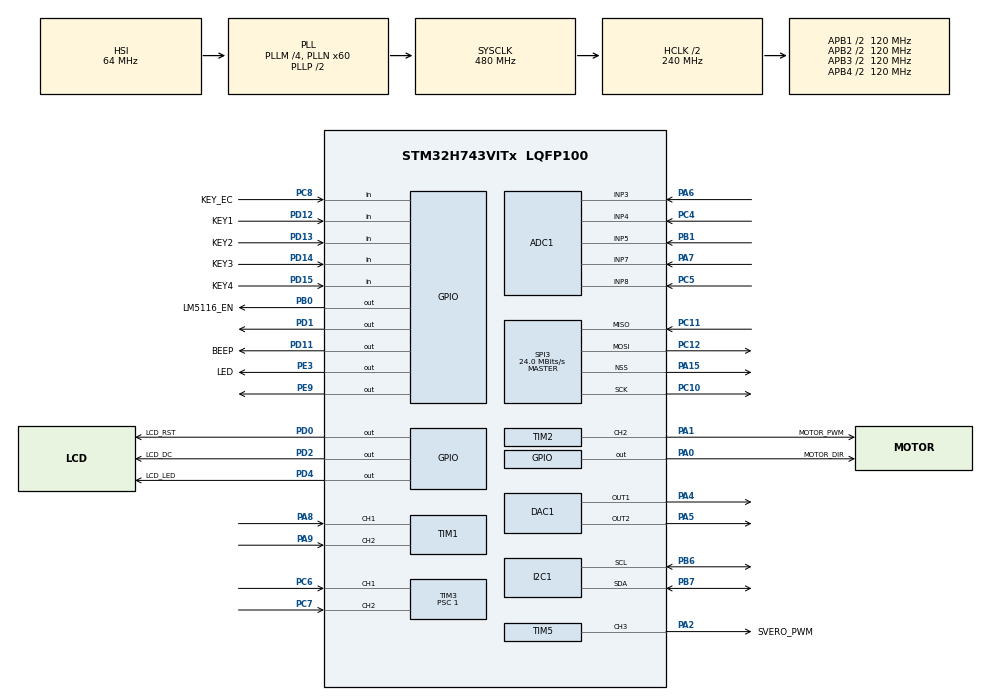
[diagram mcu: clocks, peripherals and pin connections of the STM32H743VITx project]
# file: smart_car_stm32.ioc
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ADC1.Channel-0\#ChannelRegularConversion=ADC_CHANNEL_3
ADC1.Channel-1\#ChannelRegularConversion=ADC_CHANNEL_7
ADC1.Channel-2\#ChannelRegularConversion=ADC_CHANNEL_4
ADC1.Channel-3\#ChannelRegularConversion=ADC_CHANNEL_8
ADC1.Channel-4\#ChannelRegularConversion=ADC_CHANNEL_5
ADC1.ClockPrescaler=ADC_CLOCK_ASYNC_DIV2
ADC1.ContinuousConvMode=ENABLE
ADC1.ConversionDataManagement=ADC_CONVERSIONDATA_DMA_CIRCULAR
ADC1.EOCSelection=ADC_EOC_SEQ_CONV
ADC1.LowPowerAutoWait=ENABLE
ADC1.NbrOfConversion=5
ADC1.NbrOfConversionFlag=1
ADC1.OffsetNumber-0\#ChannelRegularConversion=ADC_OFFSET_NONE
ADC1.OffsetNumber-1\#ChannelRegularConversion=ADC_OFFSET_NONE
ADC1.OffsetNumber-2\#ChannelRegularConversion=ADC_OFFSET_NONE
ADC1.OffsetNumber-3\#ChannelRegularConversion=ADC_OFFSET_NONE
ADC1.OffsetNumber-4\#ChannelRegularConversion=ADC_OFFSET_NONE
ADC1.OffsetSignedSaturation-0\#ChannelRegularConversion=DISABLE
ADC1.OffsetSignedSaturation-1\#ChannelRegularConversion=DISABLE
ADC1.OffsetSignedSaturation-2\#ChannelRegularConversion=DISABLE
ADC1.OffsetSignedSaturation-3\#ChannelRegularConversion=DISABLE
ADC1.OffsetSignedSaturation-4\#ChannelRegularConversion=DISABLE
ADC1.Rank-0\#ChannelRegularConversion=1
ADC1.Rank-1\#ChannelRegularConversion=2
ADC1.Rank-2\#ChannelRegularConversion=3
ADC1.Rank-3\#ChannelRegularConversion=4
ADC1.Rank-4\#ChannelRegularConversion=5
ADC1.SamplingTime-0\#ChannelRegularConversion=ADC_SAMPLETIME_387CYCLES_5
ADC1.SamplingTime-1\#ChannelRegularConversion=ADC_SAMPLETIME_387CYCLES_5
ADC1.SamplingTime-2\#ChannelRegularConversion=ADC_SAMPLETIME_387CYCLES_5
ADC1.SamplingTime-3\#ChannelRegularConversion=ADC_SAMPLETIME_387CYCLES_5
ADC1.SamplingTime-4\#ChannelRegularConversion=ADC_SAMPLETIME_387CYCLES_5
ADC1.master=1
CORTEX_M7.default_mode_Activation=1
DAC1.DAC_Channel-DAC_OUT1=DAC_CHANNEL_1
DAC1.DAC_Channel-DAC_OUT2=DAC_CHANNEL_2
Dma.ADC1.0.Direction=DMA_PERIPH_TO_MEMORY
Dma.ADC1.0.EventEnable=DISABLE
Dma.ADC1.0.FIFOMode=DMA_FIFOMODE_DISABLE
Dma.ADC1.0.Instance=DMA1_Stream0
Dma.ADC1.0.MemDataAlignment=DMA_MDATAALIGN_HALFWORD
Dma.ADC1.0.MemInc=DMA_MINC_ENABLE
Dma.ADC1.0.Mode=DMA_CIRCULAR
Dma.ADC1.0.PeriphDataAlignment=DMA_PDATAALIGN_HALFWORD
Dma.ADC1.0.PeriphInc=DMA_PINC_DISABLE
Dma.ADC1.0.Polarity=HAL_DMAMUX_REQ_GEN_RISING
Dma.ADC1.0.Priority=DMA_PRIORITY_LOW
Dma.ADC1.0.RequestNumber=1
Dma.ADC1.0.SignalID=NONE
Dma.ADC1.0.SyncEnable=DISABLE
Dma.ADC1.0.SyncPolarity=HAL_DMAMUX_SYNC_NO_EVENT
Dma.ADC1.0.SyncRequestNumber=1
Dma.ADC1.0.SyncSignalID=NONE
Dma.Request0=ADC1
I2C1.Timing=0x307075B1
Mcu.Family=STM32H7
Mcu.Name=STM32H743VITx
Mcu.Package=LQFP100
NVIC.DMA1_Stream0_IRQn=true\:0\:0\:false\:false\:true\:false\:true\:true
NVIC.PriorityGroup=NVIC_PRIORITYGROUP_4
NVIC.TIM8_TRG_COM_TIM14_IRQn=true\:0\:0\:false\:false\:true\:true\:true\:true
NVIC.TIM8_UP_TIM13_IRQn=true\:0\:0\:false\:false\:true\:true\:true\:true
PA0.GPIO_Label=MOTOR_DIR
PA0.GPIO_PuPd=GPIO_PULLDOWN
PA0.Signal=GPIO_Output
PA1.GPIO_Label=MOTOR_PWM
PA1.Signal=S_TIM2_CH2
PA13\ (JTMS/SWDIO).Mode=Serial_Wire
PA13\ (JTMS/SWDIO).Signal=DEBUG_JTMS-SWDIO
PA14\ (JTCK/SWCLK).Mode=Serial_Wire
PA14\ (JTCK/SWCLK).Signal=DEBUG_JTCK-SWCLK
PA15\ (JTDI).Mode=NSS_Signal_Hard_Output
PA15\ (JTDI).Signal=SPI3_NSS
PA2.GPIO_Label=SVERO_PWM
PA2.Signal=S_TIM5_CH3
PA4.Signal=COMP_DAC11_group
PA5.Signal=COMP_DAC12_group
PA6.Signal=ADCx_INP3
PA7.Signal=ADCx_INP7
PA8.Signal=S_TIM1_CH1
PA9.Signal=S_TIM1_CH2
PB0.GPIO_Label=LM5116_EN
PB0.Signal=GPIO_Output
PB1.Signal=ADCx_INP5
PB6.Mode=I2C
PB6.Signal=I2C1_SCL
PB7.Mode=I2C
PB7.Signal=I2C1_SDA
PC10.Mode=Full_Duplex_Master
PC10.Signal=SPI3_SCK
PC11.Mode=Full_Duplex_Master
PC11.Signal=SPI3_MISO
PC12.Mode=Full_Duplex_Master
PC12.Signal=SPI3_MOSI
PC14-OSC32_IN\ (OSC32_IN).Mode=LSE-External-Oscillator
PC14-OSC32_IN\ (OSC32_IN).Signal=RCC_OSC32_IN
PC15-OSC32_OUT\ (OSC32_OUT).Mode=LSE-External-Oscillator
PC15-OSC32_OUT\ (OSC32_OUT).Signal=RCC_OSC32_OUT
PC4.Signal=ADCx_INP4
PC5.Signal=ADCx_INP8
PC6.Signal=S_TIM3_CH1
PC7.Signal=S_TIM3_CH2
PC8.GPIO_Label=KEY_EC
PC8.GPIO_PuPd=GPIO_PULLUP
PC8.Signal=GPIO_Input
PD0.GPIO_Label=LCD_RST
PD0.Signal=GPIO_Output
PD1.Signal=GPIO_Output
PD11.GPIO_Label=BEEP
PD11.Signal=GPIO_Output
PD12.GPIO_Label=KEY1
PD12.GPIO_PuPd=GPIO_PULLUP
PD12.Signal=GPIO_Input
PD13.GPIO_Label=KEY2
PD13.GPIO_PuPd=GPIO_PULLUP
PD13.Signal=GPIO_Input
PD14.GPIO_Label=KEY3
PD14.GPIO_PuPd=GPIO_PULLUP
PD14.Signal=GPIO_Input
PD15.GPIO_Label=KEY4
PD15.GPIO_PuPd=GPIO_PULLUP
PD15.Signal=GPIO_Input
PD2.GPIO_Label=LCD_DC
PD2.Signal=GPIO_Output
PD4.GPIO_Label=LCD_LED
PD4.Signal=GPIO_Output
PE3.GPIO_Label=LED
PE3.Signal=GPIO_Output
PE9.GPIO_PuPd=GPIO_PULLDOWN
PE9.Signal=GPIO_Output
PH0-OSC_IN\ (PH0).Mode=HSE-External-Oscillator
PH0-OSC_IN\ (PH0).Signal=RCC_OSC_IN
PH1-OSC_OUT\ (PH1).Mode=HSE-External-Oscillator
PH1-OSC_OUT\ (PH1).Signal=RCC_OSC_OUT
ProjectManager.HeapSize=0x200
ProjectManager.StackSize=0x400
ProjectManager.TargetToolchain=MDK-ARM V5.32
RCC.ADCFreq_Value=36000000
RCC.APB1Freq_Value=120000000
RCC.APB2Freq_Value=120000000
RCC.APB3Freq_Value=120000000
RCC.APB4Freq_Value=120000000
RCC.CortexFreq_Value=480000000
RCC.D1PPRE=RCC_APB3_DIV2
RCC.D2PPRE1=RCC_APB1_DIV2
RCC.D2PPRE2=RCC_APB2_DIV2
RCC.D3PPRE=RCC_APB4_DIV2
RCC.DIVM1=4
RCC.DIVM2=8
RCC.DIVN1=60
RCC.DIVN2=36
RCC.DIVP2=8
RCC.DIVQ1=5
RCC.HCLKFreq_Value=240000000
RCC.HPRE=RCC_HCLK_DIV2
RCC.PLL2FRACN=0
RCC.PLL3FRACN=0
RCC.PLLFRACN=0
RCC.SYSCLKFreq_VALUE=480000000
RCC.SYSCLKSource=RCC_SYSCLKSOURCE_PLLCLK
RCC.USBFreq_Value=192000000
SH.ADCx_INP3.0=ADC1_INP3,IN3-Single-Ended
SH.ADCx_INP4.0=ADC1_INP4,IN4-Single-Ended
SH.ADCx_INP5.0=ADC1_INP5,IN5-Single-Ended
SH.ADCx_INP7.0=ADC1_INP7,IN7-Single-Ended
SH.ADCx_INP8.0=ADC1_INP8,IN8-Single-Ended
SH.COMP_DAC11_group.0=DAC1_OUT1,DAC_OUT1
SH.COMP_DAC12_group.0=DAC1_OUT2,DAC_OUT2
SH.S_TIM1_CH1.0=TIM1_CH1,Encoder_Interface
SH.S_TIM1_CH2.0=TIM1_CH2,Encoder_Interface
SH.S_TIM2_CH2.0=TIM2_CH2,PWM Generation2 CH2
SH.S_TIM3_CH1.0=TIM3_CH1,Encoder_Interface
SH.S_TIM3_CH2.0=TIM3_CH2,Encoder_Interface
SH.S_TIM5_CH3.0=TIM5_CH3,PWM Generation3 CH3
SPI3.BaudRatePrescaler=SPI_BAUDRATEPRESCALER_8
SPI3.CalculateBaudRate=24.0 MBits/s
SPI3.DataSize=SPI_DATASIZE_8BIT
SPI3.Direction=SPI_DIRECTION_2LINES
SPI3.Mode=SPI_MODE_MASTER
SPI3.VirtualNSS=VM_NSSHARD
SPI3.VirtualType=VM_MASTER
TIM1.EncoderMode=TIM_ENCODERMODE_TI12
TIM13.Prescaler=240-1
TIM14.Period=1000
TIM14.Prescaler=240-1
TIM2.AutoReloadPreload=TIM_AUTORELOAD_PRELOAD_ENABLE
TIM2.Channel-PWM\ Generation2\ CH2=TIM_CHANNEL_2
TIM2.Period=20000
TIM2.Prescaler=240-1
TIM3.AutoReloadPreload=TIM_AUTORELOAD_PRELOAD_ENABLE
TIM3.IC2Filter=1
TIM3.IC2Polarity=TIM_ICPOLARITY_FALLING
TIM3.Period=6000
TIM3.Prescaler=1
TIM5.Channel-PWM\ Generation3\ CH3=TIM_CHANNEL_3
TIM5.Period=20000
TIM5.Prescaler=240-1
VP_MEMORYMAP_VS_MEMORYMAP.Mode=CurAppReg
VP_TIM13_VS_ClockSourceINT.Mode=Enable_Timer
VP_TIM14_VS_ClockSourceINT.Mode=Enable_Timer
board=custom

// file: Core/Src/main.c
/* USER CODE BEGIN Header */
/**
  ******************************************************************************
  * @file           : main.c
  * @brief          : Main program body
  ******************************************************************************
  * @attention
  *
  * Copyright (c) 2025 STMicroelectronics.
  * All rights reserved.
  *
  * This software is licensed under terms that can be found in the LICENSE file
  * in the root directory of this software component.
  * If no LICENSE file comes with this software, it is provided AS-IS.
  *
  ******************************************************************************
  */
/* USER CODE END Header */
#include "main.h"
#include "comm_uart7.h"
#include "vehicle_app.h"
#include "motor_pwm.h"
#include "servo_control.h"
#include "vehicle_display.h"
#include "dac_safe.h"
#include "power_control.h"
#include "power_log.h"
#include "usb_log.h"
/* Keep disabled until separately validated with the user. */
#define CAR_ACTUATORS_ENABLED 0
#if CAR_ACTUATORS_ENABLED
#error Legacy UI actuator test must remain disabled; use reviewed vehicle ports only
#endif
#define POWER_OUTPUT_ENABLED 1
#include "adc.h"
#include "dac.h"
#include "dma.h"
#include "i2c.h"
#include "memorymap.h"
#include "spi.h"
#include "tim.h"
#include "gpio.h"

/* USER CODE BEGIN Includes */
#include "lcd_o.h"
#include "stdio.h"
#include "string.h"
#include "tone.h"
#include "AT24C02.h"
#include "ntc.h"

volatile uint8_t key;

float OUT_ADC;
volatile uint16_t ADC_value[5];
volatile uint8_t key;
float U_set =30.00;
float I_set =1.00;
float last_U_set =30.00;
float last_I_set =1.00;
uint8_t mode_set;
//电压设置参数
uint32_t U_set_int = 15;
float U_set_float = 0.00;
uint16_t U_set_count;
uint8_t U_set_mode;
float U_OUT;
uint8_t U_OUT_int;
uint8_t U_OUT_float;
float U_IN;
//电流设置参数
uint32_t I_set_int = 1;
float I_set_float = 0.50;
uint16_t I_set_count;
uint8_t I_set_mode;
float I_OUT;
uint8_t I_OUT_int;
uint8_t I_OUT_float;
//DAC 设置
float DAC_set=1.50f;
float DAC_set_I=0.00f;
//LM5116使能
uint8_t LM5116_EN;
//恒压恒流判断
float I_CCS;
uint8_t mode_CC;
//风扇散热
uint8_t mode_fan;
//过流保护
float I_OCP;
//设置最大电流
uint16_t I_MAX=10;

//调试
extern uint16_t time_1s;
extern uint16_t down_count[5];
extern uint8_t release[5];
//NTC
//通过ADC值计算NTC电阻值
//adc_value 输入ADC结果，范围 0 - 4095
//return 返回NTC电阻值，浮点数类型，单位Ω�
float NTC_R;
float tempture;
uint8_t tempture_u8;

//PID参数
float U_error,last_U_error;
float I_error,last_I_error;

uint16_t ADC2_BUFF[1024];
uint16_t ADC3_BUFF[1024];

uint8_t mode;
void power_grocess();
void power_grocess2();
uint8_t adc_dma_finish;

//car
uint16_t servo_duty;
uint16_t motor_duty;

uint16_t motor_count;
/* USER CODE END Includes */

void SystemClock_Config(void);
static void MPU_Config(void);

/* USER CODE BEGIN 0 */
static PowerControl power_control;
static volatile uint32_t power_adc_tick;
static volatile uint8_t power_adc_seen,power_adc_error;
static uint8_t power_service_ready;
void HAL_ADC_ConvCpltCallback(ADC_HandleTypeDef *h)
{
    if(h==&hadc1){power_adc_tick=HAL_GetTick();power_adc_seen=1;}
}
void HAL_ADC_ErrorCallback(ADC_HandleTypeDef *h)
{
    if(h==&hadc1){power_adc_error=1;MotorPWM_Abort();HAL_GPIO_WritePin(LM5116_EN_GPIO_Port,LM5116_EN_Pin,GPIO_PIN_RESET);}
}
static void Power_LogService(uint32_t now)
{
    static uint32_t last_snapshot,sequence;
    static unsigned next=POWER_LOG_RECORDS;
    static char lines[POWER_LOG_RECORDS][49];
    if(next==POWER_LOG_RECORDS && (uint32_t)(now-last_snapshot)>=1000U) {
        last_snapshot=now;
        PowerLogSnapshot s={0};s.sequence=++sequence;s.tick=now;
        uint32_t irq=__get_PRIMASK();__disable_irq();
        for(unsigned i=0;i<3;i++)s.raw[i]=ADC_value[i];
        s.age=now-power_adc_tick;s.seen=power_adc_seen;s.error=power_adc_error;
        s.enabled=LM5116_EN && !power_adc_error;
        __set_PRIMASK(irq);
        s.valid=s.seen && !s.error && s.age<100U;
        s.state=(unsigned)power_control.state;s.fault=power_control.fault;
        s.set_v=U_set;s.set_i=I_set;
        s.in_v=((s.raw[0]*3300U)>>16)*21.0f/1000.0f;
        s.out_v=((s.raw[1]*3300U)>>16)*11.0f/1000.0f;
        s.out_i=(s.raw[2]*3.3f/65535.0f*5.0f-0.6175f)/50.0f/0.005f;
        s.target_v=power_control.target_v;s.target_i=power_control.target_i;
        s.dac_v=DAC_set;s.dac_i=DAC_set_I;
        PowerLog_Format(&s,lines);next=0;
    }
    /* Spread a snapshot over nine service calls instead of filling the USB queue. */
    if(next<POWER_LOG_RECORDS){USB_Log_Event(PowerLog_Tag(next),lines[next]);next++;}
}

static void Power_Service(void)
{
    static uint32_t last;
    if(!power_service_ready)return;
    uint32_t now=HAL_GetTick();if((uint32_t)(now-last)<10U)return;last=now;
    uint32_t irq=__get_PRIMASK();__disable_irq();
    int pressed=(key==41),motor_arm=(key==31);if(pressed || motor_arm)key=0;
    uint16_t raw_v=ADC_value[1],raw_i=ADC_value[2];
    int valid=power_adc_seen && !power_adc_error && (uint32_t)(now-power_adc_tick)<100U;
    __set_PRIMASK(irq);
    /* Preserve original conversion pending physical divider/current calibration. */
    float volts=((raw_v*3300U)>>16)*11.0f/1000.0f;
    float amps=(raw_i*3.3f/65535.0f*5.0f-0.6175f)/50.0f/0.005f;
    PowerState before=power_control.state;
    Power_Update(&power_control,now,POWER_OUTPUT_ENABLED && pressed,U_set,I_set,volts,amps,valid);
    int active=POWER_OUTPUT_ENABLED && (power_control.state==POWER_STARTING || power_control.state==POWER_ON);
    /* Disable first; DACs are programmed before any rising enable edge. */
    if(!active)MotorPWM_Power(0,0);
    if(!active)HAL_GPIO_WritePin(LM5116_EN_GPIO_Port,LM5116_EN_Pin,GPIO_PIN_RESET);
    DAC_set=power_control.dac_v;DAC_set_I=power_control.dac_i;
    HAL_StatusTypeDef a=HAL_DAC_SetValue(&hdac1,DAC_CHANNEL_2,DAC_ALIGN_12B_R,DAC_CodeFromVolts(DAC_set_I));
    HAL_StatusTypeDef b=HAL_DAC_SetValue(&hdac1,DAC_CHANNEL_1,DAC_ALIGN_12B_R,DAC_CodeFromVolts(DAC_set));
    irq=__get_PRIMASK();__disable_irq();
    if(a!=HAL_OK || b!=HAL_OK || power_adc_error) {
        Power_Fault(&power_control,power_adc_error?POWER_ADC_LOST:POWER_DAC_ERROR);active=0;
    }
    HAL_GPIO_WritePin(LM5116_EN_GPIO_Port,LM5116_EN_Pin,active?GPIO_PIN_SET:GPIO_PIN_RESET);
    MotorPWM_Power(active && power_control.state==POWER_ON && valid,motor_arm);
    LM5116_EN=(uint8_t)active;
    __set_PRIMASK(irq);
    if(before!=power_control.state) {
        char msg[49];snprintf(msg,sizeof(msg),"state=%u fault=%u EN=%u",(unsigned)power_control.state,power_control.fault,LM5116_EN);
        USB_Log_Event("POWER",msg);
    }
    Power_LogService(now);
}

void LCD_ServiceHook(void)
{
    static uint32_t last_service;
    uint32_t now = HAL_GetTick();
    if (now != last_service) {
        Comm_UART7_Poll();
        Power_Service();
        MotorPWM_LogPoll();
    Servo_LogPoll();
        USB_Log_Poll();
        last_service = HAL_GetTick();
    }
}

/* USER CODE END 0 */

int main(void)
{

  /* MPU Configuration--------------------------------------------------------*/
  MPU_Config();

  /* MCU Configuration--------------------------------------------------------*/

  /* Reset of all peripherals, Initializes the Flash interface and the Systick. */
  HAL_Init();

  /* Configure the system clock */
  SystemClock_Config();

  /* Initialize all configured peripherals */
  MX_GPIO_Init();
  MX_DMA_Init();
  MX_SPI3_Init();
  MX_TIM14_Init();
  MX_TIM13_Init();
  MX_I2C1_Init();
  MX_ADC1_Init();
  MX_TIM3_Init();
  MX_DAC1_Init();
  MX_TIM1_Init();
#if CAR_ACTUATORS_ENABLED
  MX_TIM2_Init();
  MX_TIM5_Init();
#endif
  /* USER CODE BEGIN 2 */
  Comm_UART7_Init();

	/* TIM13 starts only while sounding; Tone_ControlInit leaves PD11 quiet. */
	HAL_TIM_Base_Start_IT(&htim14);

	LCD_Init();
	LCD_Display_Dir(3);
	LCD_Clear(BLUE);
	LCD_LED(1);
	LCD_DisplayOn();
  USB_Log_Event("APP", "LCD_INIT_DONE " ACTUATOR_MODE_TEXT);

	AT24C02_I2C_Init();

	 if(HAL_ADCEx_Calibration_Start(&hadc1,ADC_CALIB_OFFSET,ADC_SINGLE_ENDED)!=HAL_OK ||
        HAL_ADC_Start_DMA(&hadc1,(uint32_t*)ADC_value,5)!=HAL_OK)power_adc_error=1;

	 HAL_TIM_Encoder_Start(&htim3,TIM_CHANNEL_1);
	 HAL_TIM_Encoder_Start(&htim3,TIM_CHANNEL_2);
	 //记忆电压读取
    /* Commit persisted settings only after a complete, valid read. */
    uint8_t saved[10];
    if (AT24C_ReadBytes(0, saved, sizeof(saved)) == HAL_OK) {
        float saved_u, saved_i;
        memcpy(&saved_u, &saved[1], sizeof(saved_u));
        memcpy(&saved_i, &saved[6], sizeof(saved_i));
        if (isfinite(saved_u) && isfinite(saved_i) &&
            saved_u >= 0.0f && saved_u < 1.0f &&
            saved_i >= 0.0f && saved_i < 1.0f &&
            saved[0] + saved_u <= 30.0f && saved[5] + saved_i <= I_MAX) {
            U_set_int = saved[0]; U_set_float = saved_u;
            I_set_int = saved[5]; I_set_float = saved_i;
            USB_Log_Event("EEPROM_BOOT", "settings loaded");
        } else USB_Log_Event("EEPROM_BOOT", "invalid data; defaults retained");
    } else USB_Log_Event("EEPROM_BOOT", "read failed; defaults retained");

	 U_set = U_set_int+U_set_float;
	 I_set = I_set_int+I_set_float;
	 U_set_count = U_set_int;
	 __HAL_TIM_SET_COUNTER(&htim3,U_set_count);

    /* Boot never enables the supply. Clear both DACs before enabling service. */
    HAL_GPIO_WritePin(LM5116_EN_GPIO_Port,LM5116_EN_Pin,GPIO_PIN_RESET);
    if(HAL_DAC_SetValue(&hdac1,DAC_CHANNEL_1,DAC_ALIGN_12B_R,0)!=HAL_OK ||
       HAL_DAC_SetValue(&hdac1,DAC_CHANNEL_2,DAC_ALIGN_12B_R,0)!=HAL_OK ||
       HAL_DAC_Start(&hdac1,DAC_CHANNEL_1)!=HAL_OK ||
       HAL_DAC_Start(&hdac1,DAC_CHANNEL_2)!=HAL_OK)Power_Fault(&power_control,POWER_DAC_ERROR);
    power_service_ready=1;

	 //Car
#if CAR_ACTUATORS_ENABLED
	 HAL_TIM_PWM_Start(&htim5,TIM_CHANNEL_3);//舵机
	 HAL_TIM_PWM_Start(&htim2,TIM_CHANNEL_2);//电机
#endif

	//LCD_Clear(Black);
  /* USER CODE END 2 */

  /* Infinite loop */
  /* USER CODE BEGIN WHILE */
  VehicleApp_Init();
  MotorPWM_Init();
  Servo_Init();
  Tone_ControlInit();
  uint32_t ui_tick = HAL_GetTick();
  USB_Log_Event("APP", "MAIN_LOOP_READY " ACTUATOR_MODE_TEXT);
  while (1)
  {
    Comm_UART7_Poll();
    Power_Service();
    MotorPWM_LogPoll();
    Servo_LogPoll();
    if ((uint32_t)(HAL_GetTick() - ui_tick) < 200U) continue;
    ui_tick = HAL_GetTick();
		if(CAR_ACTUATORS_ENABLED && key==31)
		{
			key=0;
			HAL_GPIO_WritePin(GPIOA,GPIO_PIN_0,GPIO_PIN_SET);
		}

		motor_count = __HAL_TIM_GET_COUNTER(&htim1);

		char text[30];
		sprintf(text,"m_count=%d",motor_count);
		LCD_ShowString(160,144,200,24,24,(uint8_t*)text);

#if CAR_ACTUATORS_ENABLED
		motor_duty= U_set_float*20000;
		if(motor_duty>10000)
		{
			motor_duty = 10000;
		}
		__HAL_TIM_SET_COMPARE(&htim2,TIM_CHANNEL_2,motor_duty);
		servo_duty = (10 * (I_set_float/1.0f)+2.5f)/100.0f*20000;
		__HAL_TIM_SET_COMPARE(&htim5,TIM_CHANNEL_3,servo_duty);
#endif

        power_grocess2();
        VehicleDisplay_Poll();
        USB_Log_Event("UI_PROGRESS", "cycle complete " ACTUATOR_MODE_TEXT);
        static uint32_t seen_errors;
        static HAL_StatusTypeDef seen_status = HAL_OK;
        if (seen_errors != AT24C_ErrorCount() || seen_status != AT24C_LastStatus()) {
            char state[48];
            seen_errors = AT24C_ErrorCount(); seen_status = AT24C_LastStatus();
            snprintf(state, sizeof(state), "status=%u failures=%lu", (unsigned)seen_status,
                     (unsigned long)seen_errors);
            USB_Log_Event("EEPROM_STATE", state);
        }
    /* USER CODE END WHILE */

  }
}

void SystemClock_Config(void)
{
  RCC_OscInitTypeDef RCC_OscInitStruct = {0};
  RCC_ClkInitTypeDef RCC_ClkInitStruct = {0};

  /** Supply configuration update enable
  */
  HAL_PWREx_ConfigSupply(PWR_LDO_SUPPLY);

  /** Configure the main internal regulator output voltage
  */
  __HAL_PWR_VOLTAGESCALING_CONFIG(PWR_REGULATOR_VOLTAGE_SCALE0);

  while(!__HAL_PWR_GET_FLAG(PWR_FLAG_VOSRDY)) {}

  /** Initializes the RCC Oscillators according to the specified parameters
  * in the RCC_OscInitTypeDef structure.
  */
  RCC_OscInitStruct.OscillatorType = RCC_OSCILLATORTYPE_HSI;
  RCC_OscInitStruct.HSIState = RCC_HSI_DIV1;
  RCC_OscInitStruct.HSICalibrationValue = RCC_HSICALIBRATION_DEFAULT;
  RCC_OscInitStruct.PLL.PLLState = RCC_PLL_ON;
  RCC_OscInitStruct.PLL.PLLSource = RCC_PLLSOURCE_HSI;
  RCC_OscInitStruct.PLL.PLLM = 4;
  RCC_OscInitStruct.PLL.PLLN = 60;
  RCC_OscInitStruct.PLL.PLLP = 2;
  RCC_OscInitStruct.PLL.PLLQ = 20; /* USB 48 MHz; SPI3 also uses PLL1Q. */
  RCC_OscInitStruct.PLL.PLLR = 2;
  RCC_OscInitStruct.PLL.PLLRGE = RCC_PLL1VCIRANGE_3;
  RCC_OscInitStruct.PLL.PLLVCOSEL = RCC_PLL1VCOWIDE;
  RCC_OscInitStruct.PLL.PLLFRACN = 0;
  if (HAL_RCC_OscConfig(&RCC_OscInitStruct) != HAL_OK)
  {
    Error_Handler();
  }

  /** Initializes the CPU, AHB and APB buses clocks
  */
  RCC_ClkInitStruct.ClockType = RCC_CLOCKTYPE_HCLK|RCC_CLOCKTYPE_SYSCLK
                              |RCC_CLOCKTYPE_PCLK1|RCC_CLOCKTYPE_PCLK2
                              |RCC_CLOCKTYPE_D3PCLK1|RCC_CLOCKTYPE_D1PCLK1;
  RCC_ClkInitStruct.SYSCLKSource = RCC_SYSCLKSOURCE_PLLCLK;
  RCC_ClkInitStruct.SYSCLKDivider = RCC_SYSCLK_DIV1;
  RCC_ClkInitStruct.AHBCLKDivider = RCC_HCLK_DIV2;
  RCC_ClkInitStruct.APB3CLKDivider = RCC_APB3_DIV2;
  RCC_ClkInitStruct.APB1CLKDivider = RCC_APB1_DIV2;
  RCC_ClkInitStruct.APB2CLKDivider = RCC_APB2_DIV2;
  RCC_ClkInitStruct.APB4CLKDivider = RCC_APB4_DIV2;

  if (HAL_RCC_ClockConfig(&RCC_ClkInitStruct, FLASH_LATENCY_4) != HAL_OK)
  {
    Error_Handler();
  }
}

/* USER CODE BEGIN 4 */
void power_grocess2()
{
		uint8_t temp = 0;
		char text[30];
		if(key!=0)
		{
			sprintf(text,"key=%d",key);
			LCD_ShowString(160,0,200,24,24,(uint8_t*)text);
		}

		sprintf(text,"TEST%d",temp);
		LCD_ShowString(0,0,200,24,24,(uint8_t*)text);
		U_IN = ((ADC_value[0]*3300)>>16)*(200.0f/10.0f+1)/1000.0f;
		sprintf(text,"IN_U :%.2fV",U_IN);
		LCD_ShowString(160,24,200,24,24,(uint8_t*)text);

		//小屏幕版本电阻，U_in 200k/20k I_in (3+1)/1
		//大屏幕版本电阻，U_in 40k/4.3k I_in (4.3+4.3)/4.3
		U_OUT = ((ADC_value[1]*3300)>>16)*(200.00f/20.0f+1)/1000.f;
		sprintf(text,"OUT_U:%.2fV",U_OUT);
		LCD_ShowString(160,48,200,24,24,(uint8_t*)text);
		I_OUT = ((ADC_value[2]*3.300f/65535*((3.0f+1.0f)/1.00f+1.0f))-0.6175f)/50.0f/0.005f;
		sprintf(text,"OUT_I:%.3fA ",I_OUT);
		LCD_ShowString(160,72,200,24,24,(uint8_t*)text);
		I_CCS = ADC_value[3]*3.300f/65535;
		sprintf(text,"CCS  :%.2fV",I_CCS);
		LCD_ShowString(160,96,200,24,24,(uint8_t*)text);

		NTC_R=ADC2Resistance(ADC_value[4]);
		tempture = resistance2Temperature(NTC_R);
		sprintf(text,"NTC  :%.2f C",tempture);
		LCD_ShowString(160,120,200,24,24,(uint8_t*)text);

		//判读恒压模式还是恒流模式
		if(I_CCS>1.5f)
		{
			mode_CC=0;
		}else if(I_CCS<1.5f)
		{
			mode_CC=1;
		}

		//温度过高开启风扇
		if(tempture>50&&mode_fan==0)
		{
			mode_fan=1;
		}else if(tempture<48&&mode_fan==1)
		{
			mode_fan=0;
		}
		if(mode_fan==1)
		{
			HAL_GPIO_WritePin(GPIOE,GPIO_PIN_9,GPIO_PIN_SET);
		}else
		{
			HAL_GPIO_WritePin(GPIOE,GPIO_PIN_9,GPIO_PIN_RESET);
		}
        /* Local supply button/protection/DAC handled by Power_Service, not UI. */
        snprintf(text,sizeof(text),"PWR:%u F:%u EN:%u",(unsigned)power_control.state,power_control.fault,LM5116_EN);
        LCD_ShowString(0,24,160,16,16,(uint8_t*)text);
		//电压电流切换
		if(key==11)
		{
			tone(700,20);
			key = 0;
			mode_set --;
			mode_set%=2;
			if(mode_set==0)//切换到电压设置时,先调整整数
			{
				U_set_mode =0;
				U_set_count = U_set_int;
				__HAL_TIM_SET_COUNTER(&htim3,U_set_count);
			}else if(mode_set==1)//切换到电流设置时,先调整小数
			{
				I_set_mode =1;
				I_set_count = I_set_float;
				__HAL_TIM_SET_COUNTER(&htim3,I_set_count);
			}
		}else if(key==21)
		{
			tone(500,20);
			key = 0;
			mode_set ++;
			mode_set%=2;
			if(mode_set==0)//切换到电压设置时,先调整整数
			{
				U_set_mode =0;
				U_set_count = U_set_int;
				__HAL_TIM_SET_COUNTER(&htim3,U_set_count);
			}else if(mode_set==1)//切换到电流设置时,先调整小数
			{
				I_set_mode =1;
				I_set_count = I_set_float*100;
				__HAL_TIM_SET_COUNTER(&htim3,I_set_count);
			}
		}
		sprintf(text,"M%d ",mode_set);
		LCD_ShowString(112,0,200,24,24,(uint8_t*)text);
		if(!LM5116_EN) switch(mode_set)//根据modeset调整设置电压或电流
		{
			case 0:
			{
				//切换模式
				if(key==51)
				{
					tone(900,20);
					key = 0;
					if(U_set_mode==0)//0是电压整数，1是电压小数
					{
						U_set_mode =1;
						U_set_count = U_set_float*100;
						__HAL_TIM_SET_COUNTER(&htim3,U_set_count);
					}else if(U_set_mode==1)
					{
						U_set_mode =0;
						U_set_count = U_set_int;
						__HAL_TIM_SET_COUNTER(&htim3,U_set_count);
					}
				}

				if(U_set_mode==0)//电压整数调整
				{
					U_set_count=__HAL_TIM_GET_COUNTER(&htim3);
					if(U_set_count>1000)
					{
						U_set_count = 0;
						U_set_float = 0;
						__HAL_TIM_SET_COUNTER(&htim3,U_set_count);
					}else if(U_set_count>=30)
					{
						U_set_count = 30;
						U_set_float = 0;
						__HAL_TIM_SET_COUNTER(&htim3,U_set_count);
					}
					U_set_int = U_set_count;
					//写入电压整数
					AT24C_WriteOneByte(0,U_set_int);
					HAL_Delay(5);
				}else if(U_set_mode==1)//电压小数调整
				{
					static uint16_t last_U_set_count;
					U_set_count=__HAL_TIM_GET_COUNTER(&htim3);
					if(U_set_count!=last_U_set_count)
					{
						last_U_set_count = U_set_count;
					}

					if(U_set_count>200)
					{
						U_set_count = 99;
						U_set_int--;
						if(U_set_int>100)//防止整数部分越界
						{
							U_set_count = 0;//整数部分为0时，小数部分不再减小
							U_set_int=0;
						}
						__HAL_TIM_SET_COUNTER(&htim3,U_set_count);
					}else if(U_set_count>99)
					{
						U_set_count = 0;
						U_set_int++;
						if(U_set_int>=30)
						{
							U_set_int=30;
						}
						__HAL_TIM_SET_COUNTER(&htim3,U_set_count);
					}
					if(U_set_int==30)//超过30时，不能再增加小数
					{
						U_set_count = 0;
						__HAL_TIM_SET_COUNTER(&htim3,U_set_count);
					}
					U_set_float = U_set_count/100.f;
					//电压小数存储
					uint32_t temp_32;
					uint8_t temp_8[4];
					temp_32 = MCM_floatToIntBit(U_set_float);
					temp_8[0]=temp_32;
					temp_8[1]=temp_32>>8;
					temp_8[2]=temp_32>>16;
					temp_8[3]=temp_32>>24;
					AT24C_WriteOneByte(1,temp_8[0]);
					HAL_Delay(5);
					AT24C_WriteOneByte(2,temp_8[1]);
					HAL_Delay(5);
					AT24C_WriteOneByte(3,temp_8[2]);
					HAL_Delay(5);
					AT24C_WriteOneByte(4,temp_8[3]);
				}
			}break;
			case 1:
			{
				//电流模式调整
				if(key==51)
				{
					tone(900,20);
					key = 0;
					if(I_set_mode==0)//0是电流整数，1是电流小数
					{
						I_set_mode =1;
						I_set_count = I_set_float*100;
						__HAL_TIM_SET_COUNTER(&htim3,I_set_count);
					}else if(I_set_mode==1)
					{
						I_set_mode =0;
						I_set_count = I_set_int;
						__HAL_TIM_SET_COUNTER(&htim3,I_set_count);
					}
				}

				if(I_set_mode==0)//电流整数调整
				{
					I_set_count=__HAL_TIM_GET_COUNTER(&htim3);
					if(I_set_count>1000)
					{
						I_set_count = 0;
						I_set_float = 0;
						__HAL_TIM_SET_COUNTER(&htim3,I_set_count);
					}else if(I_set_count>=I_MAX)
					{
						I_set_count = I_MAX;
						I_set_float = 0;
						__HAL_TIM_SET_COUNTER(&htim3,I_set_count);
					}
					I_set_int = I_set_count;
					AT24C_WriteOneByte(5,I_set_int);
					HAL_Delay(5);
				}else if(I_set_mode==1)//电流小数调整
				{
					I_set_count=__HAL_TIM_GET_COUNTER(&htim3);
					if(I_set_count>200)
					{
						I_set_count = 99;
						I_set_int--;
						if(I_set_int>100)//防止整数部分越界
						{
							I_set_count = 0;//整数部分为0时，小数部分不再减小
							I_set_int=0;
						}
						__HAL_TIM_SET_COUNTER(&htim3,I_set_count);
					}else if(I_set_count>99)
					{
						I_set_count = 0;
						I_set_int++;
						if(I_set_int>=I_MAX)
						{
							I_set_int=I_MAX;
						}
						__HAL_TIM_SET_COUNTER(&htim3,I_set_count);
					}
					if(I_set_int==I_MAX)//超过3时，不能再增加小数
					{
						I_set_count = 0;
						__HAL_TIM_SET_COUNTER(&htim3,I_set_count);
					}
					I_set_float = I_set_count/100.f;
					//电流小数存储
					uint32_t temp_32;
					uint8_t temp_8[4];
					temp_32 = MCM_floatToIntBit(I_set_float);
					temp_8[0]=temp_32;
					temp_8[1]=temp_32>>8;
					temp_8[2]=temp_32>>16;
					temp_8[3]=temp_32>>24;
					AT24C_WriteOneByte(6,temp_8[0]);
					HAL_Delay(5);
					AT24C_WriteOneByte(7,temp_8[1]);
					HAL_Delay(5);
					AT24C_WriteOneByte(8,temp_8[2]);
					HAL_Delay(5);
					AT24C_WriteOneByte(9,temp_8[3]);
				}
			}break;
		}

		U_set= U_set_int+U_set_float;
		I_set= I_set_int+I_set_float;
    sprintf(text,"U_set:%.2f %d",U_set,U_set_mode);
		LCD_ShowString(0,48,200,24,24,(uint8_t*)text);
		sprintf(text,"I_set:%.2f %d",I_set,I_set_mode);
		LCD_ShowString(0,72,200,24,24,(uint8_t*)text);
        /* Active output settings are latched at start; edit only while OFF. */
		uint32_t dac_temp;
		dac_temp = HAL_DAC_GetValue(&hdac1,DAC_CHANNEL_1);
		sprintf(text,"DAC_U:%.2fV",dac_temp*3.3f/4096);
		LCD_ShowString(0,96,200,24,24,(uint8_t*)text);

		dac_temp = HAL_DAC_GetValue(&hdac1,DAC_CHANNEL_2);
		sprintf(text,"DAC_I:%.2fV",dac_temp*3.3f/4096);
		LCD_ShowString(0,120,200,24,24,(uint8_t*)text);
}

/* USER CODE END 4 */

 /* MPU Configuration */

void MPU_Config(void)
{
  MPU_Region_InitTypeDef MPU_InitStruct = {0};

  /* Disables the MPU */
  HAL_MPU_Disable();

  /** Initializes and configures the Region and the memory to be protected
  */
  MPU_InitStruct.Enable = MPU_REGION_ENABLE;
  MPU_InitStruct.Number = MPU_REGION_NUMBER0;
  MPU_InitStruct.BaseAddress = 0x0;
  MPU_InitStruct.Size = MPU_REGION_SIZE_4GB;
  MPU_InitStruct.SubRegionDisable = 0x87;
  MPU_InitStruct.TypeExtField = MPU_TEX_LEVEL0;
  MPU_InitStruct.AccessPermission = MPU_REGION_NO_ACCESS;
  MPU_InitStruct.DisableExec = MPU_INSTRUCTION_ACCESS_DISABLE;
  MPU_InitStruct.IsShareable = MPU_ACCESS_SHAREABLE;
  MPU_InitStruct.IsCacheable = MPU_ACCESS_NOT_CACHEABLE;
  MPU_InitStruct.IsBufferable = MPU_ACCESS_NOT_BUFFERABLE;

  HAL_MPU_ConfigRegion(&MPU_InitStruct);
  /* Enables the MPU */
  HAL_MPU_Enable(MPU_PRIVILEGED_DEFAULT);

}

void Error_Handler(void)
{
  /* USER CODE BEGIN Error_Handler_Debug */
  /* User can add his own implementation to report the HAL error return state */
  __disable_irq();
  MotorPWM_Abort();
  HAL_GPIO_WritePin(LM5116_EN_GPIO_Port,LM5116_EN_Pin,GPIO_PIN_RESET);
  while (1)
  {
  }
  /* USER CODE END Error_Handler_Debug */
}
